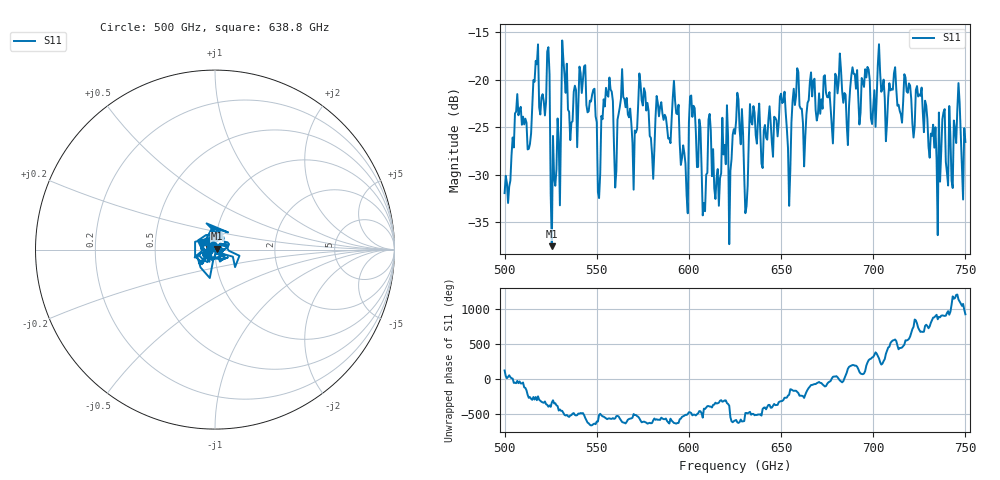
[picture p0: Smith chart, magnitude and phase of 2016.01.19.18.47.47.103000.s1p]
!Created with skrf (http://scikit-rf.org).
# GHz S RI R 50.0
!freq ReS11 ImS11
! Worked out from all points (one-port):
!   401 points, 500 GHz to 750 GHz, reference 50 ohm
!   lowest |S11| = -37.5 dB at 525.6 GHz (marker M1), VSWR 1.03, Z = 51.3 + j0.464 ohm
!   |S11| at or under -10 dB: start of sweep to end of sweep
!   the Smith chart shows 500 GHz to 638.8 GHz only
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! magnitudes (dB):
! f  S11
! 500 GHz  -31.9
! 506.9 GHz  -21.5
! 513.8 GHz  -26.8
! 516.9 GHz  -18.0
! 523.1 GHz  -17.0
! 525.6 GHz  -37.5
! 531.2 GHz  -15.9
! 542.5 GHz  -20.0
! 550.6 GHz  -31.8
! 556.2 GHz  -21.8
! 560.6 GHz  -29.6
! 562.5 GHz  -22.9
! 580 GHz  -27.8
! 593.8 GHz  -23.6
! 598.1 GHz  -28.8
! 601.9 GHz  -23.9
! 608.8 GHz  -33.8
! 610.6 GHz  -24.2
! 615 GHz  -30.3
! 625 GHz  -25.7
! 631.2 GHz  -33.3
! 634.4 GHz  -24.7
! 656.2 GHz  -22.2
! 687.5 GHz  -20.9
! 718.8 GHz  -21.4
! 735.6 GHz  -23.4
! 745.6 GHz  -23.1
! 750 GHz  -26.5
